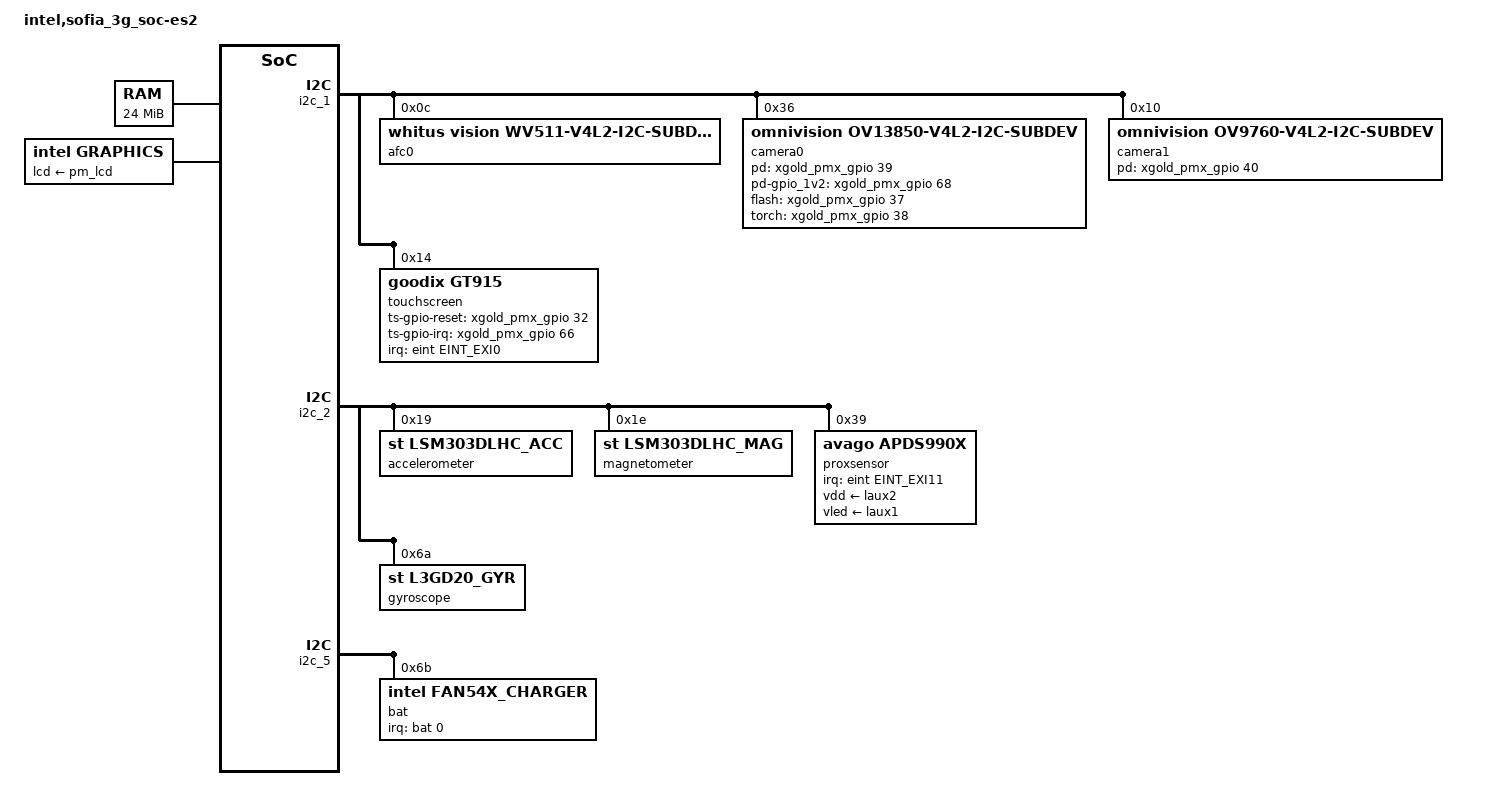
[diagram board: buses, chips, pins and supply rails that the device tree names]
/dts-v1/;
#define SOFIA3G_ES2
#define SOFIA3G_ES21
#include "xgold/sofia_3g_soc/irq.h"

/ {
	#address-cells = <1>;
	#size-cells = <1>;
	model = "intel,sofia_3g_soc-es2";
	compatible = "intel,sofia_3g_soc-svb", "intel,xgold";

	#include "xgold/sofia_3g_soc/sofia_3g_soc.dtsi"
	#include "xgold/sofia_3g_soc/irq.dtsi"
	#include "xgold/mobilevisor/mobilevisor.dtsi"
	#include "xgold/sofia_3g_soc/clock-es2.dtsi"
	#include "xgold/sofia_3g_soc/regulator.dtsi"
	#include "xgold/sofia_3g_soc/device-pm-reg.dtsi"
	#include "xgold/sofia_3g_soc/cpufreq.dtsi"

	chosen {
	};

	aliases {
	};

	memory {
		device_type = "memory";
		reg = <0x800000 0x1800000>;
	};

	reserved-memory {
		#address-cells = <1>;
		#size-cells = <1>;
		ranges;

		/* global autoconfigured region for contiguous allocations */
		cma_default_region: region@0 {
			size = <0x09000000>;
			limit = <0x00000000>;
			linux,cma-default;
		};
		/* special region for secured processing devices */
		secured_region: region@8000000 {
			reg = <0x08000000 0x08000000>;
			no-map;
			linux,cma;
		};
	};

	vmodem {
		compatible = "intel,vmodem";
		reg = < 0x1D000000 0x02C00000 >;
	};

	ion {
		compatible = "intel,ion";
#ifndef RECOVERY_KERNEL
		secvm-handler;
#endif
		cma-heap {
			memory-region = <&cma_default_region>;
		};
		secured-heap {
			memory-region = <&secured_region>;
		};
	};

	backlight:agold620-backlight {
		compatible = "intel,agold620-led";
		reg = <0xE6501800 0x154>;
		reg-names = "pmu-bl";
		intel,flags-use-safe-ctrl;
		intel,vmm-secured-access;
		pm,class-name = "bl_class";
		pm,user-name = "bl";
		pm,state-D0 = "enable";
		pm,state-D3 = "disable";
		intel,led-k2 = <0x143>;
		intel,led-k1max = <0x120>;
		intel,led-k2max = <0xFFFF>;
		intel,led-up = <0x10104>;
		intel,led-down = <0x200>;
		intel,led-safe = <0x12>;
	};

	graphics {
		compatible = "intel,graphics";
		intel,gpu-shared-mem = <0x20000000>;
		intel,dcc-fbpixelformat= "RGB888";
		intel,dcc-debug-level = <1>;
		intel,fb-api = <1>;
#ifdef RECOVERY_KERNEL
		intel,dcc-mem = < 0x00800000 >;
#else
		intel,dcc-use-fences = <1>;
		intel,dcc-mem = < 0x00400000 >;
		intel,prot-mem = < 0x08000000 0x08000000>;
#endif
		intel,display-fps = <60>;
		intel,display-ramless = <1>;
		intel,display-preinit = <0>;
		intel,display-if = <&mipi_dsi>;
		intel,display-if-rate = <385000000>;
		lcd-supply = <&pm_lcd>;
		/include/ "xgold/display/OTM1283.dtsi"
		mipi_dsi:mipi-dsi {
				intel,display-if-min = <104000000>;
				intel,display-if-max = <550000000>;
				intel,display-if-nblanes = <4>;
				intel,display-if-phy-pwup = <6>;
				intel,display-if-phy-calib = <3>;
				intel,display-if-phy-to_lp_hs_req = <24>;
				intel,display-if-phy-to_lp_hs_dis = <25>;
				intel,display-if-phy-to_lp_hs_eot = <60>;
				intel,display-if-phy-to_hs_zero = <8>;
				intel,display-if-phy-to_hs_flip = <24>;
				intel,display-if-phy-lp_clk_div = <31>;
				intel,display-if-phy-to_hs_clk_pre = <36>;
				intel,display-if-phy-to_hs_clk_post = <42>;
				intel,display-if-phy-data_delay = <7>;
				intel,display-if-phy-clock_delay = <7>;
				intel,display-if-phy-lp_tx_tfall = <2>;
				intel,display-if-phy-lp_tx_rise = <2>;
				intel,display-if-phy-lp_tx_vref = <31>;
		};
	};

#ifndef RECOVERY_KERNEL
	sound:sound {
		compatible = "intel,xgold-snd-asoc";
		intel,audio-codec = < &afe >;
		intel,pcm-audio = <&pcm_music>;
		intel,pcm-voice = <&pcm_voice>;
		intel,speech = <&speech_probe>;
		intel,jack = <&headset>;
	};
#endif

};

&eint {
	/* intel,virq,x = <0>; means EINTx is owned & requested by IRQ framework */
	intel,virq,0 = <0>; /* EINT_EXI0: TOUCH */
	intel,virq,1 = <0>; /* EINT_EXI1: ??? */
	intel,virq,2 = <0>; /* EINT_EXI2: ??? */
	intel,virq,3 = <1>; /* EINT_EXI3 */
	intel,virq,4 = <1>; /* EINT_EXI4 */
	intel,virq,5 = <1>; /* EINT_EXI5 */
	intel,virq,6 = <1>; /* EINT_EXI6 */
	intel,virq,7 = <1>; /* EINT_EXI7 */
	intel,virq,8 = <0>; /* EINT_EXI8: SD-DET */
	intel,virq,9 = <1>; /* EINT_EXI9 */
	intel,virq,10 = <1>; /* EINT_EXI10 */
	intel,virq,11 = <0>; /* EINT_EXI11: PROX */
	intel,virq,12 = <0>; /* EINT_EXI12: ??? */
	intel,virq,13 = <1>; /* EINT_EXI13 */
	intel,virq,14 = <1>; /* EINT_EXI14 */
	intel,virq,15 = <1>; /* EINT_EXI15 */
	intel,virq,16 = <0>; /* EINT_USB_HS_RESUME */
	intel,virq,17 = <0>; /* EINT_SDMMC_DETECT */
	intel,virq,18 = <1>; /* EINT_SDIO_DAT3 */
	intel,virq,19 = <1>; /* EINT_SDIO_DAT1 */
	intel,virq,20 = <0>; /* EINT_USIF1_WK */
	intel,virq,21 = <1>; /* EINT_USIF2_WK */
	intel,virq,22 = <1>; /* EINT_WUP_DBB */
	intel,virq,23 = <1>; /* EINT_U2H */
	intel,virq,24 = <1>; /* EINT_G3FP */
	intel,virq,25 = <1>; /* EINT_DTXS */
	intel,virq,26 = <1>; /* EINT_DRXS */
	intel,virq,27 = <1>; /* EINT_WDT0 */
	intel,virq,28 = <1>; /* EINT_WDT1 */
	intel,virq,29 = <0>; /* EINT_USB_ID */

	intel,preack,8 = <1>; /* EINT_EXI8 */
	intel,preack,20 = <1>; /* EINT_USIF1_WK */
};

&idi_per {
	#include "xgold/agold620/agold620.dtsi"
};

&bat_hal {
	#define BAT_TYPE_LC 0
	#define POWER_SUPPLY_TECHNOLOGY_LION 2

	supp_batids =  < 0 BAT_TYPE_LC >;

	supp_batids-map = "standrd";

	prof-standrd = < POWER_SUPPLY_TECHNOLOGY_LION /*battery_type*/
				  2885 /*capacity*/
				  4350 /*voltage_max*/
				  144 /*chrg_term_ma*/
				  3200 /*low_batt_mv*/
				  60 /*disch_tmp_ul*/
				  0xffffffec /*disch_tmp_ll (-20)*/
				  0 /*min_temp*/
				  3 /*min_temp_restart*/
				  42 /*max_temp_restart*/ >;

	prof-standrd-cap_to_vbat_ocv = <
		3202 3378 3493 3569 3624 3661 3674 3680 3685 3689
		3692 3696 3700 3705 3713 3721 3728 3735 3742 3747
		3752 3758 3763 3767 3770 3773 3776 3778 3780 3782
		3784 3787 3789 3791 3794 3796 3799 3802 3805 3808
		3811 3815 3818 3822 3826 3830 3834 3839 3844 3848
		3854 3859 3865 3871 3877 3884 3891 3899 3907 3915
		3922 3930 3938 3946 3954 3963 3971 3979 3988 3996
		4005 4014 4023 4033 4043 4053 4062 4072 4082 4091
		4102 4112 4122 4133 4143 4154 4165 4176 4187 4198
		4209 4220 4232 4243 4255 4266 4277 4286 4297 4307
		4314 >;


	prof-standrd-ntemp_ranges = <1>;

	prof-standrd-temp_range0 = < 45 /*max_temp*/
					     4320 /*full_chrg_vol*/
					     1500 /*full_chrg_cur*/
					     98 /*charging_res_cap*/
					     4320 /*maint_chrg_vol_ul*/
					     1500 /*maint_chrg_cur*/ >;

	nprofiles = <1>;
};

&fuel_gauge_hal {
	sense_resistor_mohm = <20>;
	gain_error_1_uc_per_mc = <30>;
	gain_error_2_uc_per_mc = <30>;
};

&dcc {
	pinctrl-names = "default", "sleep", "inactive";
	pinctrl-0 = <&dif_default_pins>;
	pinctrl-1 = <&dif_sleep_pins>;
	pinctrl-2 = <&dif_inactive_pins>;
};

&usif1 {
	pinctrl-names = "default", "sleep", "inactive";
	pinctrl-0 = <&usif1_default_pins>;
	pinctrl-1 = <&usif1_sleep_pins>;
	pinctrl-2 = <&usif1_inactive_pins>;
};

&usif2 {
	pinctrl-names = "default", "sleep", "inactive";
	pinctrl-0 = <&usif2_function_B_active_pins>;
	pinctrl-1 = <&usif2_function_B_sleep_pins>;
	pinctrl-2 = <&usif2_function_B_inactive_pins>;
};

&i2c_1 {
	pinctrl-names = "default", "sleep", "inactive";
	pinctrl-0 = <&i2c1_default_pins>;
	pinctrl-1 = <&i2c1_sleep_pins>;
	pinctrl-2 = <&i2c1_inactive_pins>;

#ifndef RECOVERY_KERNEL
	afc0: af-controller@0 {
		compatible = "whitus vision,wv511-v4l2-i2c-subdev";
		reg = < 0x0C >;
	};

	camera0: camera-module@0 {
		compatible = "omnivision,ov13850-v4l2-i2c-subdev";
		reg = < 0x36 >;
		device_type = "v4l2-i2c-subdev";

		pinctrl-names = "default", "sleep", "inactive";
		pinctrl-0 = <&cam1_default_pins>;
		pinctrl-1 = <&cam1_sleep_pins>;
		pinctrl-2 = <&cam1_inactive_pins>;

		intel,pd-gpio = <&xgold_pmx_gpio 39 0>;
		intel,pd-gpio_1v2 = <&xgold_pmx_gpio 68 0>;
		intel,pd-gpio-is_active_low;
		intel,flash-gpio = <&xgold_pmx_gpio 37 0>;
		intel,torch-gpio = <&xgold_pmx_gpio 38 0>;

		pm,class-name = "generic_class";
		pm,user-name = "primcam";
		pm,state-D0 = "enable";
		pm,state-D3 = "disable";

		/* ["front","back"] */
		intel,camera-module-facing = "back";
		/* ["landscape","landscape-flipped","portrait","portrait-flipped"] */
		intel,camera-module-mounting = "landscape";
		intel,camera-module-flash-support = <1>;
		intel,camera-module-flash-exp-time = <5000>;

		intel,af-ctrl = <&afc0>;

		intel,camera-module-csi-config-0 {
			intel,csi-pixels-per-second = <0>;
			intel,csi-vc = <0>;
			intel,csi-lanes = <2>;
			intel,csi-dphy1 = <0x2014183>;
			intel,csi-dphy2 = <0x00>;
			intel,csi-ana-bandgap-bias = <3>;
		};
		intel,camera-module-csi-config-1 {
			intel,csi-pixels-per-second = <100000000>;
			intel,csi-vc = <0>;
			intel,csi-lanes = <4>;
			intel,csi-dphy1 = <0x600E1C1>;
			intel,csi-dphy2 = <0x00>;
			intel,csi-ana-bandgap-bias = <3>;
		};
	};
#endif
#ifndef RECOVERY_KERNEL
	camera1: camera-module@1 {
		compatible = "omnivision,ov9760-v4l2-i2c-subdev";
		reg = < 0x10 >;
		device_type = "v4l2-i2c-subdev";

		pinctrl-names = "default", "sleep", "inactive";
		pinctrl-0 = <&cam2_default_pins>;
		pinctrl-1 = <&cam2_sleep_pins>;
		pinctrl-2 = <&cam2_inactive_pins>;

		intel,pd-gpio = <&xgold_pmx_gpio 40 0>;
		intel,pd-gpio-is_active_low;

		pm,class-name = "generic_class";
		pm,user-name = "seccam";
		pm,state-D0 = "enable";
		pm,state-D3 = "disable";

		intel,camera-module-facing = "front";
		/* ["landscape","landscape-flipped","portrait","portrait-flipped"] */
		intel,camera-module-mounting = "landscape";
		intel,camera-module-flash-support = <1>;
		intel,camera-module-flash-exp-time = <5000>;

		intel,camera-module-csi-config-0 {
			intel,csi-pixels-per-second = <0>;
			intel,csi-vc = <0>;
			intel,csi-lanes = <1>;
			intel,csi-dphy1 = <0x60121A9>;
			intel,csi-dphy2 = <0x00>;
			intel,csi-ana-bandgap-bias = <3>;
		};

	};
#endif
#ifndef RECOVERY_KERNEL
	touchscreen {
		compatible = "goodix,GT915";
		reg = < 0x14 >;
		interrupt-parent = <&eint>;
		interrupts = < EINT_EXI0 XGOLD_IRQ_TYPE_EDGE_FALLING >;
		pinctrl-names = "default", "sleep", "inactive", "gpio";
		pinctrl-0 = <&touch_default_pins>;
		pinctrl-1 = <&touch_sleep_pins>;
		pinctrl-2 = <&touch_inactive_pins>;
		pinctrl-3 = <&touch_gpio_pins>;
		intel,ts-gpio-reset = <&xgold_pmx_gpio 32 0>;
		intel,ts-gpio-irq = <&xgold_pmx_gpio 66 0>;
		pm,class-name = "gt9xx_class";
		pm,user-name = "tp";
		pm,state-D0 = "enable";
		pm,state-D3 = "disable";
	};
#endif
};

&i2c_2 {
	pinctrl-names = "default", "sleep", "inactive";
	pinctrl-0 = <&i2c2_default_pins>;
	pinctrl-1 = <&i2c2_sleep_pins>;
	pinctrl-2 = <&i2c2_inactive_pins>;

#ifndef RECOVERY_KERNEL
	accelerometer {
		compatible = "st,lsm303dlhc_acc";
		reg = < 0x19 >;
		intel,axis-map = < 1 0 2 >;
		intel,negate = < 1 0 0 >;
		intel,poll-interval = < 100 >;
		pinctrl-names = "default", "sleep", "inactive";
		pinctrl-0 = <&accel_default_pins>;
		pinctrl-1 = <&accel_sleep_pins>;
		pinctrl-2 = <&accel_inactive_pins>;
		pm,class-name = "lsm303dlhc_acc_class";
		pm,user-name = "accelerometer";
		pm,state-D0 = "enable";
		pm,state-D3 = "disable";
	};
#endif
#ifndef RECOVERY_KERNEL
	magnetometer {
		compatible = "st,lsm303dlhc_mag";
		reg = < 0x1e >;
		intel,axis-map = < 1 0 2 >;
		intel,negate = < 1 0 0 >;
		intel,offset = < 0 0 0 >;
		intel,poll-interval = < 100 >;
		pm,class-name = "lsm303dlhc_mag_class";
		pm,user-name = "compass";
		pm,state-D0 = "enable";
		pm,state-D3 = "disable";
	};
#endif
#ifndef RECOVERY_KERNEL
	proxsensor {
		compatible = "avago,apds990x";
		reg = < 0x39 >;
		interrupt-parent = <&eint>;
		interrupts = < EINT_EXI11 XGOLD_IRQ_TYPE_EDGE_FALLING >;
		pinctrl-names = "default", "sleep", "inactive";
		pinctrl-0 = <&prox_default_pins>;
		pinctrl-1 = <&prox_sleep_pins>;
		pinctrl-2 = <&prox_inactive_pins>;
		intel,pdrive = /bits/ 8 < 64 >;
		intel,ppcount = /bits/ 8 < 64 >;
		intel,als-gain = < 713 >;
		intel,coeff-B = < 204 >;
		intel,coeff-C = < 98 >;
		intel,coeff-D = < 197 >;
		vdd-supply = <&laux2>;
		vled-supply = <&laux1>; /* VBAT in fact, but since VBAT is not controllable, and VAUX1 is required for INT pull up, assigned VAUX1 to VLED instead. */
		pm,class-name = "apds990x_class";
		pm,user-name = "proximity";
		pm,state-D0 = "enable";
		pm,state-D3 = "disable";
	};
#endif
#ifndef RECOVERY_KERNEL
	gyroscope {
		compatible = "st,l3gd20_gyr";
		reg = < 0x6a >;
		pinctrl-names = "default", "sleep", "inactive";
		pinctrl-0 = <&gyroscope_default_pins>;
		pinctrl-1 = <&gyroscope_sleep_pins>;
		pinctrl-2 = <&gyroscope_inactive_pins>;
		intel,axis-map = < 0 1 2 >;
		intel,negate = < 0 0 0 >;
		intel,poll-interval = < 100 >;
		intel,full-scale = < 2000 >;
		pm,class-name = "l3gd20_class";
		pm,user-name = "gyroscope";
		pm,state-D0 = "enable";
		pm,state-D3 = "disable";
	};
#endif
};

&i2c_5 {
	pinctrl-names = "default", "sleep", "inactive";
	pinctrl-0 = <&i2c5_agold_default_pins>;
	pinctrl-1 = <&i2c5_agold_sleep_pins>;
	pinctrl-2 = <&i2c5_agold_inactive_pins>;
	bat:battery {
		compatible = "intel,fan54x_charger";
		reg = < 0x6b >;
		interrupts = < 0 >;
		interrupt-parent = < &bat>;
		#interrupt-cells = < 1 >;
		interrupt-map = < 0 &ag620_pmu ABB_PMU_CI XGOLD_IRQ_TYPE_NONE >; /* CI */
		pinctrl-names = "default", "sleep", "inactive", "active";
		pinctrl-0 = < &chgreset_agold_default_pins >;
		pinctrl-1 = < &chgreset_agold_sleep_pins >;
		pinctrl-2 = < &chgreset_agold_inactive_pins >;
		pinctrl-3 = < &chgreset_agold_active_pins >;
	};
};

&gnss {
	pinctrl-names = "default", "sleep", "inactive", "default_lna", "inactive_lna", "default_fta", "inactive_fta", "gnss_default", "gnss_inactive";
	pinctrl-0 = <&tcxo_agold_default_pins>;
	pinctrl-1 = <&tcxo_agold_sleep_pins>;
	pinctrl-2 = <&tcxo_agold_inactive_pins>;
	pinctrl-3 = <&ext_agold_default_pins>;
	pinctrl-4 = <&ext_agold_sleep_pins>;
	pinctrl-5 = <&gnss_agold_default_pins>;
	pinctrl-6 = <&gnss_agold_sleep_pins>;
	pinctrl-7 = <&gnss_default_pins>;
	pinctrl-8 = <&gnss_inactive_pins>;
};

&backlight {
	pinctrl-names = "default", "sleep", "inactive";
	pinctrl-0 = <&cabc_agold_default_pins>;
	pinctrl-1 = <&cabc_agold_sleep_pins>;
	pinctrl-2 = <&cabc_agold_inactive_pins>;
};

#ifndef RECOVERY_KERNEL
&afe {
	pinctrl-names = "default", "sleep", "inactive";
	pinctrl-0 = <&dm_agold_default_pins>;
	pinctrl-1 = <&dm_agold_sleep_pins>;
	pinctrl-2 = <&dm_agold_inactive_pins>;
};
#endif

&sd {
	intel,tap_values = <0x080400F5 0x08040004 0x00040004 0x08040004 0x5CF501A5 0x00F500A5 0x00F500A5>;
	pinctrl-names = "default", "sleep", "inactive";
	pinctrl-0 = <&sdmmc_default_pins>;
	pinctrl-1 = <&sdmmc_sleep_pins>;
	pinctrl-2 = <&sdmmc_inactive_pins>;
};

&emmc {
	intel,tap_values = <0x080400F5 0x08040004 0x00040004 0x08040004 0x08040004 0x000400B5 0x000400B5>;
	pinctrl-names = "default", "sleep", "inactive";
	pinctrl-0 = <&emmc_default_pins>;
	pinctrl-1 = <&emmc_sleep_pins>;
	pinctrl-2 = <&emmc_inactive_pins>;

};

&keypad {
	pinctrl-names = "default", "sleep", "inactive";
	pinctrl-0 = <&kp_default_pins>;
	pinctrl-1 = <&kp_sleep_pins>;
	pinctrl-2 = <&kp_inactive_pins>;
	keypad,num-rows = <3>;
	keypad,num-columns = <8>;
	keypad,rows = <0 2>;
	keypad,columns = <0 1 2>;
	linux,keymap = <0x00000073	/* KEY_VOLUMEUP */
			0x00010066	/* KEY_HOME */
			0x00020000	/* KEY_RESERVED */
			0x00030000	/* KEY_RESERVED */
			0x00040000	/* KEY_RESERVED */
			0x00050000	/* KEY_RESERVED */
			0x00060000	/* KEY_RESERVED */
			0x00070000	/* KEY_RESERVED */
			0x01000000	/* KEY_RESERVED */
			0x01010000	/* KEY_RESERVED */
			0x01020000	/* KEY_RESERVED */
			0x01030000	/* KEY_RESERVED */
			0x01040000	/* KEY_RESERVED */
			0x01050000	/* KEY_RESERVED */
			0x01060000	/* KEY_RESERVED */
			0x01070000	/* KEY_RESERVED */
			0x02000072	/* KEY_VOLUMEDOWN */
			0x02010000	/* KEY_RESERVED */
			0x02020000>;	/* KEY_RESERVED */
};

#ifndef RECOVERY_KERNEL
&cif {
	intel,camera-modules-attached = <&camera0 &camera1>;
};
#endif

#if defined(SOFIA3G_ES21)
#include "xgold/sofia_3g_soc/pinctrl-sf_3g-es2.1-svb.dtsi"
#include "xgold/agold620/pinctrl-sf_3g-es2.1-svb.dtsi"
#else
#include "xgold/sofia_3g_soc/pinctrl-sf_3g-es2-svb.dtsi"
#include "xgold/agold620/pinctrl-sf_3g-es2-svb.dtsi"
#endif
